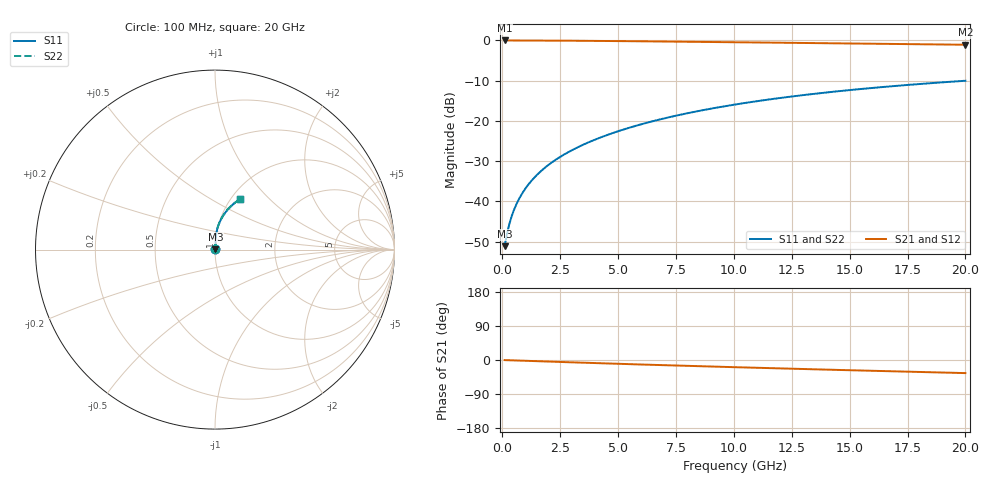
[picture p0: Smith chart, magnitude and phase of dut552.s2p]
! Touchstone file exported from HFSS 2024.1.0
!  File:  C:/UserFiles/LocalFiles/RDL_TSV_Batchsim/temp_RDL_top_552_1779680991.aedt
!  Generated:  11:51:50 AM May 25, 2026
!  Design:  RDL_top
!  Project:  temp_RDL_top_552_1779680991
!  Setup:  Setup1
!  Solution:  Sweep
! Variables:
!  dtsv = 10.80580581um
!  hbump = 3um
!  htsv = 72.06um
!  ldown = 100um
!  lrdl = 482.04um
!  p = 40
!  p1 = 50.63um
!  rhole = 1um
!  t = 450um
!  tdown = 3.915915916um
!  trdl = 3.5um
!  wdown = 15.38538539um
!  wrdl = 23.55um
# GHz S MA R 50.000000
! Terminal data exported
! Port[1] = Box2_T1
! Port[2] = Box2_T2
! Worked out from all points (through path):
!   200 points, 100 MHz to 20 GHz, reference 50 ohm
!   highest |S21| = -0.02 dB at 100 MHz (marker M1); lowest = -1.1 dB at 20 GHz (marker M2)
!   group delay of S21, straight-line fit = 4.75 ps
!   lowest |S11| = -51.1 dB at 100 MHz (marker M3), VSWR 1.01, Z = 50.2 + j0.159 ohm
!   |S11| at or under -10 dB: start of sweep to end of sweep
!   |S22| runs from -51.1 to -10.0 dB; largest |S21 - S12| = 3.8e-15
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0.1  0.002781 34.6  0.9977 -0.2  0.9977 -0.2  0.002781 34.6
! Gamma 0 0 0 0
! Port Impedance 50 0 50 0
0.2  0.003918 52.1  0.9976 -0.4  0.9976 -0.4  0.003918 52.1
0.3  0.005188 60.8  0.9974 -0.6  0.9974 -0.6  0.005188 60.8
0.4  0.006481 66.1  0.9972 -0.9  0.9972 -0.9  0.00648 66.1
0.5  0.007784 69.7  0.9971 -1.1  0.9971 -1.1  0.007783 69.7
0.6  0.009098 72.4  0.9969 -1.3  0.9969 -1.3  0.009098 72.4
0.8  0.01176 76.2  0.9966 -1.7  0.9966 -1.7  0.01176 76.2
1.1  0.01584 79.7  0.9961 -2.3  0.9961 -2.3  0.01584 79.7
1.3  0.01861 81.2  0.9957 -2.7  0.9957 -2.7  0.01861 81.2
1.6  0.02281 82.8  0.995 -3.3  0.995 -3.3  0.02281 82.9
2.1  0.02993 84.5  0.9936 -4.3  0.9936 -4.3  0.02994 84.5
2.7  0.03869 85.6  0.9915 -5.6  0.9915 -5.6  0.0387 85.7
3.5  0.05073 86.3  0.9881 -7.1  0.9881 -7.1  0.05075 86.4
4.2  0.0616 86.4  0.9846 -8.5  0.9846 -8.5  0.06162 86.5
5  0.07437 86.2  0.9802 -10.0  0.9802 -10.0  0.07441 86.2
6.8  0.1042 84.6  0.9693 -13.4  0.9693 -13.4  0.1043 84.7
8.4  0.1315 82.5  0.959 -16.2  0.959 -16.2  0.1316 82.6
10.1  0.1606 79.9  0.9479 -19.1  0.9479 -19.1  0.1607 79.9
11.7  0.1876 77.2  0.9374 -21.7  0.9374 -21.7  0.1879 77.3
13.4  0.2158 74.3  0.9262 -24.5  0.9262 -24.5  0.216 74.4
16.7  0.2676 68.7  0.9045 -29.6  0.9045 -29.6  0.268 68.8
20  0.3152 63.3  0.8827 -34.6  0.8827 -34.6  0.3156 63.4
